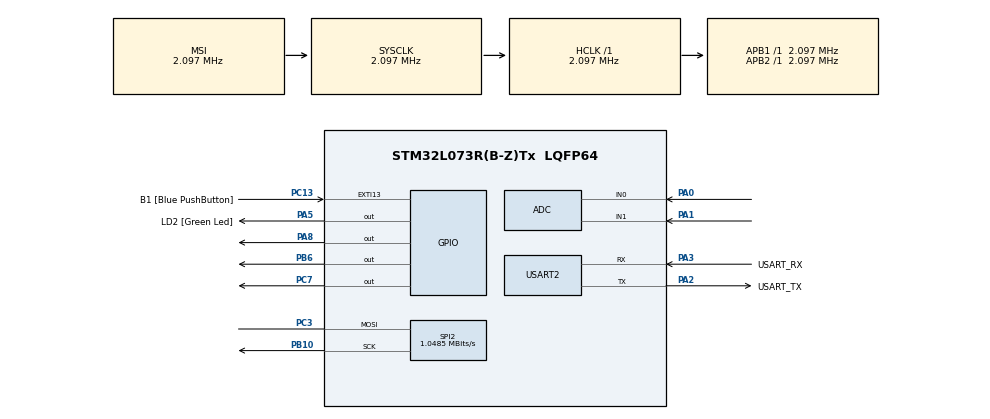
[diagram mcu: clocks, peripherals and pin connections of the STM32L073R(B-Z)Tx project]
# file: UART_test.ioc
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Mcu.Family=STM32L0
Mcu.Name=STM32L073R(B-Z)Tx
Mcu.Package=LQFP64
PA0.Mode=IN0
PA0.Signal=ADC_IN0
PA1.Mode=IN1
PA1.Signal=ADC_IN1
PA13.GPIO_Label=TMS
PA13.Mode=Serial_Wire
PA13.Signal=SYS_SWDIO
PA14.GPIO_Label=TCK
PA14.Mode=Serial_Wire
PA14.Signal=SYS_SWCLK
PA2.GPIO_Label=USART_TX
PA2.Mode=Asynchronous
PA2.Signal=USART2_TX
PA3.GPIO_Label=USART_RX
PA3.Mode=Asynchronous
PA3.Signal=USART2_RX
PA5.GPIO_Label=LD2 [Green Led]
PA5.Signal=GPIO_Output
PA8.Signal=GPIO_Output
PB10.Mode=Simplex_Bidirectional_Master
PB10.Signal=SPI2_SCK
PB6.Signal=GPIO_Output
PC13.GPIO_Label=B1 [Blue PushButton]
PC13.GPIO_ModeDefaultEXTI=GPIO_MODE_IT_FALLING
PC13.Signal=GPXTI13
PC14-OSC32_IN.Mode=LSE-External-Oscillator
PC14-OSC32_IN.Signal=RCC_OSC32_IN
PC15-OSC32_OUT.Mode=LSE-External-Oscillator
PC15-OSC32_OUT.Signal=RCC_OSC32_OUT
PC3.Mode=Simplex_Bidirectional_Master
PC3.Signal=SPI2_MOSI
PC7.Signal=GPIO_Output
PH0-OSC_IN.GPIO_Label=MCO
PH0-OSC_IN.Mode=HSE-External-Clock-Source
PH0-OSC_IN.Signal=RCC_OSC_IN
ProjectManager.HeapSize=0x200
ProjectManager.StackSize=0x400
ProjectManager.TargetToolchain=STM32CubeIDE
RCC.AHBFreq_Value=2097000
RCC.APB1Freq_Value=2097000
RCC.APB1TimFreq_Value=2097000
RCC.APB2Freq_Value=2097000
RCC.APB2TimFreq_Value=2097000
RCC.HSE_VALUE=8000000
RCC.HSI16_VALUE=16000000
RCC.HSI48_VALUE=48000000
RCC.HSI_VALUE=16000000
RCC.MSI_VALUE=2097000
RCC.SYSCLKFreq_VALUE=2097000
RCC.VCOOutputFreq_Value=48000000
SPI2.CalculateBaudRate=1.0485 MBits/s
SPI2.Direction=SPI_DIRECTION_1LINE
SPI2.Mode=SPI_MODE_MASTER
SPI2.VirtualType=VM_MASTER
USART2.VirtualMode-Asynchronous=VM_ASYNC
board=NUCLEO-L073RZ

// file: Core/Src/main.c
/* USER CODE BEGIN Header */
/**
  ******************************************************************************
  * @file           : main.c
  * @brief          : Main program body
  ******************************************************************************
  * @attention
  *
  * Copyright (c) 2025 STMicroelectronics.
  * All rights reserved.
  *
  * This software is licensed under terms that can be found in the LICENSE file
  * in the root directory of this software component.
  * If no LICENSE file comes with this software, it is provided AS-IS.
  *
  ******************************************************************************
  */
/* USER CODE END Header */
#include "main.h"

/* USER CODE BEGIN Includes */

#include <stdio.h>
#include <stdint.h>
#include <string.h>
#include <math.h>
#include "mano.h"

#include "st7735.h"
#include "fonts.h"
#include "testimg.h"
/* USER CODE END Includes */

ADC_HandleTypeDef hadc;

SPI_HandleTypeDef hspi2;

UART_HandleTypeDef huart2;

/* USER CODE BEGIN PV */
char msg[200];
int counter;
float T1 = 0.0, T2 = 10.1;

char T1_buff[100];  // Buffer to hold the string representation
char T2_buff[100];
char diff_buff[100];

/* USER CODE END PV */

void SystemClock_Config(void);
static void MX_GPIO_Init(void);
static void MX_USART2_UART_Init(void);
static void MX_ADC_Init(void);
static void MX_SPI2_Init(void);

/* USER CODE BEGIN 0 */

#define Vref 3.3
#define Vstep Vref/4096 // 12 bit ADC
float ReadTemperature(uint32_t channel) {

	// NTC thermistor coefficients
		float A = 0.001210656;
		float B = 0.000226946;
		float C = 6.7980e-8;
		float D = 0;  // adjust for better precision

		float resistance;  // NTC thermistor's resistance
	    float temperature;
	    uint32_t ADCValue;
	    float voltage;
	    static unsigned char bADCReady = 1;

	    // Check if ADC is ready for a new conversion
	    if (bADCReady == 1) {
	        // Start ADC conversion
	        if (HAL_ADC_Start(&hadc) != HAL_OK) {
	            // Start Conversion Error
	            Error_Handler();
	        } else {
	            bADCReady = 0; // ADC conversion in progress
	        }
	    }

	    // Poll for ADC conversion completion
	    HAL_ADC_PollForConversion(&hadc, 10);

	    // Check if the conversion is complete
	    if ((HAL_ADC_GetState(&hadc) & HAL_ADC_STATE_REG_EOC) == HAL_ADC_STATE_REG_EOC) {
	        // Select the channel to read
	        ADC_ChannelConfTypeDef sConfig;
	        sConfig.Channel = channel; // Set the channel
	        sConfig.Rank = 1;          // Rank of the channel in the sequencer
	        hadc.Init.SamplingTime = ADC_SAMPLETIME_1CYCLE_5; // Set sampling time
	        HAL_ADC_ConfigChannel(&hadc, &sConfig); // Configure the ADC channel

	        // Get the converted value
	        ADCValue = HAL_ADC_GetValue(&hadc); // Read ADC result
	        voltage = ADCValue * Vstep; // Calculate voltage

	        // Calculate resistance and temperature
	        resistance = 5714.3 * voltage;
	        temperature = 1 / (A + B * log(resistance) + C * pow(log(resistance), 2) + D * pow(log(resistance), 3)) - 273.15;

	        bADCReady = 1; // ADC conversion complete, ready for next conversion
	    }

	    return temperature;
	}

/* USER CODE END 0 */

int main(void)
{

  /* MCU Configuration--------------------------------------------------------*/

  /* Reset of all peripherals, Initializes the Flash interface and the Systick. */
  HAL_Init();

  /* Configure the system clock */
  SystemClock_Config();

  /* Initialize all configured peripherals */
  MX_GPIO_Init();
  MX_USART2_UART_Init();
  MX_ADC_Init();
  MX_SPI2_Init();
  /* USER CODE BEGIN 2 */
  ST7735_Init();
  ST7735_FillScreen(ST7735_GREEN);
  /* USER CODE END 2 */

  /* Infinite loop */
  while (1)
  {

    /* USER CODE BEGIN 3 */

	  if (counter % 2000 == 0) {

	  sprintf(msg, "T1: %f T2: %f diff: %f \r", ReadTemperature(ADC_CHANNEL_0),  ReadTemperature(ADC_CHANNEL_1), (ReadTemperature(ADC_CHANNEL_0) - ReadTemperature(ADC_CHANNEL_1)));
	  HAL_UART_Transmit(&huart2, (uint8_t*)msg, strlen(msg), HAL_MAX_DELAY);

	  }

	  if (counter % 5000 == 0) {

		  // Convert float to string
		  sprintf(T1_buff, "T1: %.5f", ReadTemperature(ADC_CHANNEL_0)); // Format to 5 decimal places
		  sprintf(T2_buff, "T2: %.5f", ReadTemperature(ADC_CHANNEL_1)); // Format to 5 decimal places
		  sprintf(diff_buff, "diff: %.5f", ReadTemperature(ADC_CHANNEL_0) - ReadTemperature(ADC_CHANNEL_0)); // Format to 5 decimal places

		  ST7735_WriteString(10,  20, T1_buff, Font_7x10, ST7735_WHITE, ST7735_GREEN);

		  ST7735_WriteString(10,  40, T2_buff, Font_7x10, ST7735_WHITE, ST7735_GREEN);

		  ST7735_WriteString(10,  60, diff_buff, Font_7x10, ST7735_WHITE, ST7735_GREEN);
	  }
  }

  /* USER CODE END 3 */
}

void SystemClock_Config(void)
{
  RCC_OscInitTypeDef RCC_OscInitStruct = {0};
  RCC_ClkInitTypeDef RCC_ClkInitStruct = {0};
  RCC_PeriphCLKInitTypeDef PeriphClkInit = {0};

  /** Configure the main internal regulator output voltage
  */
  __HAL_PWR_VOLTAGESCALING_CONFIG(PWR_REGULATOR_VOLTAGE_SCALE1);

  /** Initializes the RCC Oscillators according to the specified parameters
  * in the RCC_OscInitTypeDef structure.
  */
  RCC_OscInitStruct.OscillatorType = RCC_OSCILLATORTYPE_MSI;
  RCC_OscInitStruct.MSIState = RCC_MSI_ON;
  RCC_OscInitStruct.MSICalibrationValue = 0;
  RCC_OscInitStruct.MSIClockRange = RCC_MSIRANGE_5;
  RCC_OscInitStruct.PLL.PLLState = RCC_PLL_NONE;
  if (HAL_RCC_OscConfig(&RCC_OscInitStruct) != HAL_OK)
  {
    Error_Handler();
  }

  /** Initializes the CPU, AHB and APB buses clocks
  */
  RCC_ClkInitStruct.ClockType = RCC_CLOCKTYPE_HCLK|RCC_CLOCKTYPE_SYSCLK
                              |RCC_CLOCKTYPE_PCLK1|RCC_CLOCKTYPE_PCLK2;
  RCC_ClkInitStruct.SYSCLKSource = RCC_SYSCLKSOURCE_MSI;
  RCC_ClkInitStruct.AHBCLKDivider = RCC_SYSCLK_DIV1;
  RCC_ClkInitStruct.APB1CLKDivider = RCC_HCLK_DIV1;
  RCC_ClkInitStruct.APB2CLKDivider = RCC_HCLK_DIV1;

  if (HAL_RCC_ClockConfig(&RCC_ClkInitStruct, FLASH_LATENCY_0) != HAL_OK)
  {
    Error_Handler();
  }
  PeriphClkInit.PeriphClockSelection = RCC_PERIPHCLK_USART2;
  PeriphClkInit.Usart2ClockSelection = RCC_USART2CLKSOURCE_PCLK1;
  if (HAL_RCCEx_PeriphCLKConfig(&PeriphClkInit) != HAL_OK)
  {
    Error_Handler();
  }
}

static void MX_ADC_Init(void)
{

  ADC_ChannelConfTypeDef sConfig = {0};

  /** Configure the global features of the ADC (Clock, Resolution, Data Alignment and number of conversion)
  */
  hadc.Instance = ADC1;
  hadc.Init.OversamplingMode = DISABLE;
  hadc.Init.ClockPrescaler = ADC_CLOCK_SYNC_PCLK_DIV1;
  hadc.Init.Resolution = ADC_RESOLUTION_12B;
  hadc.Init.SamplingTime = ADC_SAMPLETIME_1CYCLE_5;
  hadc.Init.ScanConvMode = ADC_SCAN_DIRECTION_FORWARD;
  hadc.Init.DataAlign = ADC_DATAALIGN_RIGHT;
  hadc.Init.ContinuousConvMode = DISABLE;
  hadc.Init.DiscontinuousConvMode = DISABLE;
  hadc.Init.ExternalTrigConvEdge = ADC_EXTERNALTRIGCONVEDGE_NONE;
  hadc.Init.ExternalTrigConv = ADC_SOFTWARE_START;
  hadc.Init.DMAContinuousRequests = DISABLE;
  hadc.Init.EOCSelection = ADC_EOC_SINGLE_CONV;
  hadc.Init.Overrun = ADC_OVR_DATA_PRESERVED;
  hadc.Init.LowPowerAutoWait = DISABLE;
  hadc.Init.LowPowerFrequencyMode = ENABLE;
  hadc.Init.LowPowerAutoPowerOff = DISABLE;
  if (HAL_ADC_Init(&hadc) != HAL_OK)
  {
    Error_Handler();
  }

  /** Configure for the selected ADC regular channel to be converted.
  */
  sConfig.Channel = ADC_CHANNEL_0;
  sConfig.Rank = ADC_RANK_CHANNEL_NUMBER;
  if (HAL_ADC_ConfigChannel(&hadc, &sConfig) != HAL_OK)
  {
    Error_Handler();
  }

  /** Configure for the selected ADC regular channel to be converted.
  */
  sConfig.Channel = ADC_CHANNEL_1;
  if (HAL_ADC_ConfigChannel(&hadc, &sConfig) != HAL_OK)
  {
    Error_Handler();
  }

}

static void MX_SPI2_Init(void)
{

  /* SPI2 parameter configuration*/
  hspi2.Instance = SPI2;
  hspi2.Init.Mode = SPI_MODE_MASTER;
  hspi2.Init.Direction = SPI_DIRECTION_1LINE;
  hspi2.Init.DataSize = SPI_DATASIZE_8BIT;
  hspi2.Init.CLKPolarity = SPI_POLARITY_LOW;
  hspi2.Init.CLKPhase = SPI_PHASE_1EDGE;
  hspi2.Init.NSS = SPI_NSS_SOFT;
  hspi2.Init.BaudRatePrescaler = SPI_BAUDRATEPRESCALER_2;
  hspi2.Init.FirstBit = SPI_FIRSTBIT_MSB;
  hspi2.Init.TIMode = SPI_TIMODE_DISABLE;
  hspi2.Init.CRCCalculation = SPI_CRCCALCULATION_DISABLE;
  hspi2.Init.CRCPolynomial = 7;
  if (HAL_SPI_Init(&hspi2) != HAL_OK)
  {
    Error_Handler();
  }

}

static void MX_USART2_UART_Init(void)
{

  huart2.Instance = USART2;
  huart2.Init.BaudRate = 115200;
  huart2.Init.WordLength = UART_WORDLENGTH_8B;
  huart2.Init.StopBits = UART_STOPBITS_1;
  huart2.Init.Parity = UART_PARITY_NONE;
  huart2.Init.Mode = UART_MODE_TX_RX;
  huart2.Init.HwFlowCtl = UART_HWCONTROL_NONE;
  huart2.Init.OverSampling = UART_OVERSAMPLING_16;
  huart2.Init.OneBitSampling = UART_ONE_BIT_SAMPLE_DISABLE;
  huart2.AdvancedInit.AdvFeatureInit = UART_ADVFEATURE_NO_INIT;
  if (HAL_UART_Init(&huart2) != HAL_OK)
  {
    Error_Handler();
  }

}

static void MX_GPIO_Init(void)
{
  GPIO_InitTypeDef GPIO_InitStruct = {0};

  /* GPIO Ports Clock Enable */
  __HAL_RCC_GPIOC_CLK_ENABLE();
  __HAL_RCC_GPIOH_CLK_ENABLE();
  __HAL_RCC_GPIOA_CLK_ENABLE();
  __HAL_RCC_GPIOB_CLK_ENABLE();

  /*Configure GPIO pin Output Level */
  HAL_GPIO_WritePin(GPIOA, LD2_Pin|GPIO_PIN_8, GPIO_PIN_RESET);

  /*Configure GPIO pin Output Level */
  HAL_GPIO_WritePin(GPIOC, GPIO_PIN_7, GPIO_PIN_RESET);

  /*Configure GPIO pin Output Level */
  HAL_GPIO_WritePin(GPIOB, GPIO_PIN_6, GPIO_PIN_RESET);

  /*Configure GPIO pin : B1_Pin */
  GPIO_InitStruct.Pin = B1_Pin;
  GPIO_InitStruct.Mode = GPIO_MODE_IT_FALLING;
  GPIO_InitStruct.Pull = GPIO_NOPULL;
  HAL_GPIO_Init(B1_GPIO_Port, &GPIO_InitStruct);

  /*Configure GPIO pins : LD2_Pin PA8 */
  GPIO_InitStruct.Pin = LD2_Pin|GPIO_PIN_8;
  GPIO_InitStruct.Mode = GPIO_MODE_OUTPUT_PP;
  GPIO_InitStruct.Pull = GPIO_NOPULL;
  GPIO_InitStruct.Speed = GPIO_SPEED_FREQ_LOW;
  HAL_GPIO_Init(GPIOA, &GPIO_InitStruct);

  /*Configure GPIO pin : PC7 */
  GPIO_InitStruct.Pin = GPIO_PIN_7;
  GPIO_InitStruct.Mode = GPIO_MODE_OUTPUT_PP;
  GPIO_InitStruct.Pull = GPIO_NOPULL;
  GPIO_InitStruct.Speed = GPIO_SPEED_FREQ_LOW;
  HAL_GPIO_Init(GPIOC, &GPIO_InitStruct);

  /*Configure GPIO pin : PB6 */
  GPIO_InitStruct.Pin = GPIO_PIN_6;
  GPIO_InitStruct.Mode = GPIO_MODE_OUTPUT_PP;
  GPIO_InitStruct.Pull = GPIO_NOPULL;
  GPIO_InitStruct.Speed = GPIO_SPEED_FREQ_LOW;
  HAL_GPIO_Init(GPIOB, &GPIO_InitStruct);

}

void Error_Handler(void)
{
  __disable_irq();
  while (1)
  {
  }
}
